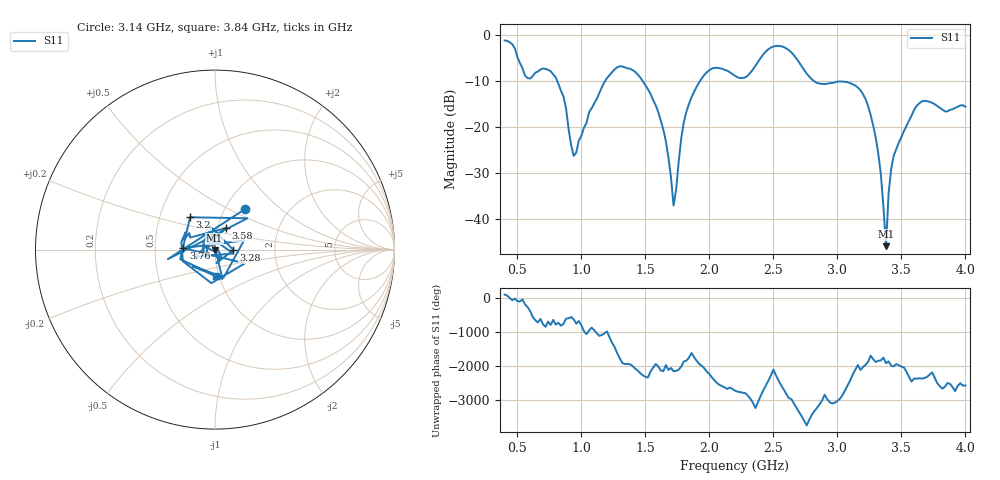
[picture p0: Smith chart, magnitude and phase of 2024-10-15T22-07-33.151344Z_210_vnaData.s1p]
! Created with skrf (http://scikit-rf.org).
# Hz S RI R 50.0
!freq ReS11 ImS11
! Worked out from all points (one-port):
!   181 points, 400 MHz to 4 GHz, reference 50 ohm
!   lowest |S11| = -45.9 dB at 3.38 GHz (marker M1), VSWR 1.01, Z = 49.8 - j0.454 ohm
!   |S11| at or under -10 dB: 811 MHz to 1.185 GHz (374.4 MHz wide, 37.5 % of centre); 1.478 GHz to 1.927 GHz (448.6 MHz wide, 26.3 % of centre); 2.816 GHz to end of sweep
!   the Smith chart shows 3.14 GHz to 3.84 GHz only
!   S11 on the Smith chart (normalised r, x): 3.14 GHz: 1.24, +0.61; 3.2 GHz: 0.71, +0.27; 3.28 GHz: 1.23, -0.01; 3.58 GHz: 1.09, +0.27; 3.76 GHz: 0.70, +0.01; 3.84 GHz: 0.97, -0.29
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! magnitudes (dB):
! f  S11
! 400 MHz  -1.2
! 560 MHz  -8.9
! 740 MHz  -7.6
! 860 MHz  -13.4
! 940 MHz  -26.3
! 1.3 GHz  -6.8
! 1.58 GHz  -15.2
! 1.66 GHz  -23.1
! 1.72 GHz  -37.1
! 1.76 GHz  -27.5
! 1.82 GHz  -16.7
! 1.94 GHz  -9.4
! 2.2 GHz  -8.9
! 2.5 GHz  -2.5
! 2.66 GHz  -4.4
! 2.84 GHz  -10.4
! 3.1 GHz  -10.5
! 3.14 GHz  -11.0
! 3.2 GHz  -12.9
! 3.28 GHz  -19.7
! 3.34 GHz  -30.4
! 3.38 GHz  -45.9
! 3.42 GHz  -29.2
! 3.56 GHz  -18.6
! 3.58 GHz  -17.5
! 3.76 GHz  -15.0
! 3.84 GHz  -16.6
! 4 GHz  -15.6
